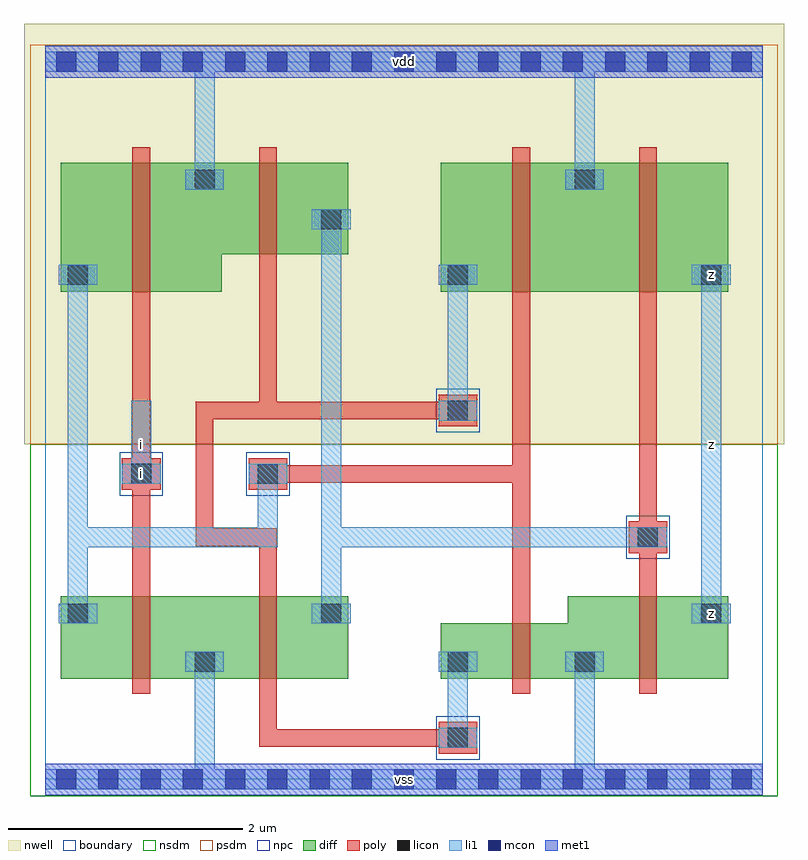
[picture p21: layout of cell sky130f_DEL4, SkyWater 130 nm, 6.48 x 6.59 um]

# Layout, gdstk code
import gdstk
lib = gdstk.Library(unit=1e-6, precision=1e-09)
def R(c, l, rs):  # rectangles x0, y0, x1, y1
    for r in rs: c.add(gdstk.rectangle(r[:2], r[2:], *l))
def A(c, l, x, y, w, h, nx, ny, dx, dy):  # array of equal rectangles
    R(c, l, [(x+i*dx, y+j*dy, x+i*dx+w, y+j*dy+h) for i in range(nx) for j in range(ny)])
L0_0 = (0, 0)
nwell = (64, 20)
diff = (65, 20)
poly = (66, 20)
licon = (66, 44)
li1 = (67, 20)
mcon = (67, 44)
met1 = (68, 20)
nsdm = (93, 44)
psdm = (94, 20)
npc = (95, 20)
boundary = (235, 4)

sky130f_del4 = lib.new_cell('sky130f_DEL4')
R(sky130f_del4, nwell, [(-0.18,2.86,6.3,6.445)])
R(sky130f_del4, diff, [(0.135,0.86,1.505,1.56), (1.215,0.86,2.585,1.56), (1.215,0.86,1.505,1.15), (3.375,0.86,4.745,1.33), (3.375,0.86,3.665,1.15), (4.455,0.86,5.825,1.56), (4.455,0.86,4.745,1.15), (0.135,1.27,0.425,1.56), (2.295,1.27,2.585,1.56), (5.535,1.27,5.825,1.56), (0.135,4.16,1.505,5.26), (0.135,4.16,0.425,4.45), (3.375,4.16,4.745,5.26), (3.375,4.16,3.665,4.45), (4.455,4.16,5.825,5.26), (5.535,4.16,5.825,4.45), (1.215,4.48,2.585,5.26), (2.295,4.63,2.585,4.92), (1.215,4.97,1.505,5.26), (4.455,4.97,4.745,5.26)])
R(sky130f_del4, poly, [(3.355,0.22,3.685,0.49), (1.825,0.28,1.975,1.08), (1.825,0.28,3.595,0.43), (0.745,0.73,0.895,1.69), (1.825,0.73,1.975,1.69), (3.985,0.73,4.135,1.46), (5.065,0.73,5.215,1.69), (3.985,0.93,4.135,4.38), (0.745,1.34,0.895,4.38), (1.825,1.34,1.975,2.14), (5.065,1.34,5.215,4.38), (4.975,1.93,5.305,2.2), (1.285,1.99,1.975,2.14), (1.285,1.99,1.435,3.22), (0.655,2.47,0.985,2.74), (1.735,2.47,2.065,2.74), (1.825,2.53,4.135,2.68), (3.355,3.01,3.685,3.28), (1.285,3.07,1.975,3.22), (1.825,3.07,3.595,3.22), (1.825,3.07,1.975,4.85), (0.745,4.03,0.895,5.39), (3.985,4.03,4.135,5.39), (5.065,4.03,5.215,5.39), (1.825,4.35,1.975,5.39)])
R(sky130f_del4, licon, [(3.435,0.27,3.605,0.44), (1.275,0.92,1.445,1.09), (3.435,0.92,3.605,1.09), (4.515,0.92,4.685,1.09), (0.195,1.33,0.365,1.5), (2.355,1.33,2.525,1.5), (5.595,1.33,5.765,1.5), (5.055,1.98,5.225,2.15), (0.735,2.52,0.905,2.69), (1.815,2.52,1.985,2.69), (3.435,3.06,3.605,3.23), (0.195,4.22,0.365,4.39), (3.435,4.22,3.605,4.39), (5.595,4.22,5.765,4.39), (2.355,4.69,2.525,4.86), (1.275,5.03,1.445,5.2), (4.515,5.03,4.685,5.2)])
R(sky130f_del4, li1, [(0,-0.085,6.12,0.085), (1.275,0.06,1.445,1.09), (4.515,0.06,4.685,1.09), (3.355,0.27,3.685,0.44), (3.435,0.27,3.605,1.09), (1.195,0.92,1.525,1.09), (3.355,0.92,3.685,1.09), (4.435,0.92,4.765,1.09), (0.115,1.33,0.445,1.5), (0.195,1.33,0.365,2.15), (2.275,1.33,2.605,1.5), (2.355,1.33,2.525,2.15), (5.515,1.33,5.845,1.5), (5.595,1.33,5.765,4.39), (0.195,1.98,1.985,2.15), (0.195,1.98,0.365,4.39), (1.815,1.98,1.985,2.69), (2.355,1.98,5.225,2.15), (2.355,1.98,2.525,4.86), (4.975,1.98,5.305,2.15), (0.655,2.52,0.985,2.69), (0.735,2.52,0.905,3.23), (1.735,2.52,2.065,2.69), (3.355,3.06,3.685,3.23), (3.435,3.06,3.605,4.39), (0.115,4.22,0.445,4.39), (3.355,4.22,3.685,4.39), (5.515,4.22,5.845,4.39), (2.275,4.69,2.605,4.86), (1.195,5.03,1.525,5.2), (1.275,5.03,1.445,6.06), (4.435,5.03,4.765,5.2), (4.515,5.03,4.685,6.06), (0,6.035,6.12,6.205)])
A(sky130f_del4, mcon, 0.095, -0.085, 0.17, 0.17, 17, 2, 0.36, 6.12)
R(sky130f_del4, met1, [(0,-0.135,6.12,0.135), (0,5.985,6.12,6.255)])
R(sky130f_del4, nsdm, [(-0.125,-0.145,6.245,0.145), (-0.125,0.145,6.245,2.86)])
R(sky130f_del4, psdm, [(-0.125,2.86,6.245,5.975), (-0.125,5.975,6.245,6.265)])
R(sky130f_del4, npc, [(3.335,0.17,3.705,0.54), (4.955,1.88,5.325,2.25), (0.635,2.42,1.005,2.79), (1.715,2.42,2.085,2.79), (3.335,2.96,3.705,3.33)])
R(sky130f_del4, boundary, [(0,0,6.12,6.12)])
sky130f_del4.add(gdstk.FlexPath([(0.115,0.355),(5.845,0.355)], 0, ends="flush", simple_path=True, layer=0, datatype=0))  # L0_0
sky130f_del4.add(gdstk.FlexPath([(0.115,1.005),(5.845,1.005)], 0, ends="flush", simple_path=True, layer=0, datatype=0))  # L0_0
sky130f_del4.add(gdstk.FlexPath([(0.115,1.415),(5.845,1.415)], 0, ends="flush", simple_path=True, layer=0, datatype=0))  # L0_0
sky130f_del4.add(gdstk.FlexPath([(0.115,2.065),(5.845,2.065)], 0, ends="flush", simple_path=True, layer=0, datatype=0))  # L0_0
sky130f_del4.add(gdstk.FlexPath([(0.115,2.605),(5.845,2.605)], 0, ends="flush", simple_path=True, layer=0, datatype=0))  # L0_0
sky130f_del4.add(gdstk.FlexPath([(0.115,3.145),(5.845,3.145)], 0, ends="flush", simple_path=True, layer=0, datatype=0))  # L0_0
sky130f_del4.add(gdstk.FlexPath([(0.115,4.305),(5.845,4.305)], 0, ends="flush", simple_path=True, layer=0, datatype=0))  # L0_0
sky130f_del4.add(gdstk.FlexPath([(0.115,4.775),(5.845,4.775)], 0, ends="flush", simple_path=True, layer=0, datatype=0))  # L0_0
sky130f_del4.add(gdstk.FlexPath([(0.115,5.115),(5.845,5.115)], 0, ends="flush", simple_path=True, layer=0, datatype=0))  # L0_0
sky130f_del4.add(gdstk.FlexPath([(0.115,5.765),(5.845,5.765)], 0, ends="flush", simple_path=True, layer=0, datatype=0))  # L0_0
sky130f_del4.add(gdstk.FlexPath([(0.28,0.06),(0.28,6.06)], 0, ends="flush", simple_path=True, layer=0, datatype=0))  # L0_0
sky130f_del4.add(gdstk.FlexPath([(0.82,0.06),(0.82,6.06)], 0, ends="flush", simple_path=True, layer=0, datatype=0))  # L0_0
sky130f_del4.add(gdstk.FlexPath([(1.36,0.06),(1.36,6.06)], 0, ends="flush", simple_path=True, layer=0, datatype=0))  # L0_0
sky130f_del4.add(gdstk.FlexPath([(1.9,0.06),(1.9,6.06)], 0, ends="flush", simple_path=True, layer=0, datatype=0))  # L0_0
sky130f_del4.add(gdstk.FlexPath([(2.44,0.06),(2.44,6.06)], 0, ends="flush", simple_path=True, layer=0, datatype=0))  # L0_0
sky130f_del4.add(gdstk.FlexPath([(2.98,0.06),(2.98,6.06)], 0, ends="flush", simple_path=True, layer=0, datatype=0))  # L0_0
sky130f_del4.add(gdstk.FlexPath([(3.52,0.06),(3.52,6.06)], 0, ends="flush", simple_path=True, layer=0, datatype=0))  # L0_0
sky130f_del4.add(gdstk.FlexPath([(4.06,0.06),(4.06,6.06)], 0, ends="flush", simple_path=True, layer=0, datatype=0))  # L0_0
sky130f_del4.add(gdstk.FlexPath([(4.6,0.06),(4.6,6.06)], 0, ends="flush", simple_path=True, layer=0, datatype=0))  # L0_0
sky130f_del4.add(gdstk.FlexPath([(5.14,0.06),(5.14,6.06)], 0, ends="flush", simple_path=True, layer=0, datatype=0))  # L0_0
sky130f_del4.add(gdstk.FlexPath([(5.68,0.06),(5.68,6.06)], 0, ends="flush", simple_path=True, layer=0, datatype=0))  # L0_0
sky130f_del4.add(gdstk.Label('z', (5.68,1.415), layer=65, texttype=20))
sky130f_del4.add(gdstk.Label('z', (5.68,4.305), layer=65, texttype=20))
sky130f_del4.add(gdstk.Label('i', (0.82,2.86), layer=66, texttype=20))
sky130f_del4.add(gdstk.Label('i', (0.82,2.605), layer=66, texttype=20))
sky130f_del4.add(gdstk.Label('z', (5.68,1.415), layer=66, texttype=44))
sky130f_del4.add(gdstk.Label('z', (5.68,4.305), layer=66, texttype=44))
sky130f_del4.add(gdstk.Label('i', (0.82,2.605), layer=66, texttype=44))
sky130f_del4.add(gdstk.Label('z', (5.68,1.415), layer=67, texttype=5))
sky130f_del4.add(gdstk.Label('z', (5.68,4.305), layer=67, texttype=5))
sky130f_del4.add(gdstk.Label('z', (5.68,2.86), layer=67, texttype=5))
sky130f_del4.add(gdstk.Label('i', (0.82,2.605), layer=67, texttype=5))
sky130f_del4.add(gdstk.Label('i', (0.82,2.875), layer=67, texttype=5))
sky130f_del4.add(gdstk.Label('vss', (3.06,0), layer=67, texttype=5))
sky130f_del4.add(gdstk.Label('vdd', (3.06,6.12), layer=67, texttype=5))
sky130f_del4.add(gdstk.Label('vss', (3.06,0), layer=68, texttype=5))
sky130f_del4.add(gdstk.Label('vdd', (3.06,6.12), layer=68, texttype=5))

lib.write_gds('sky130f_DEL4.gds')
